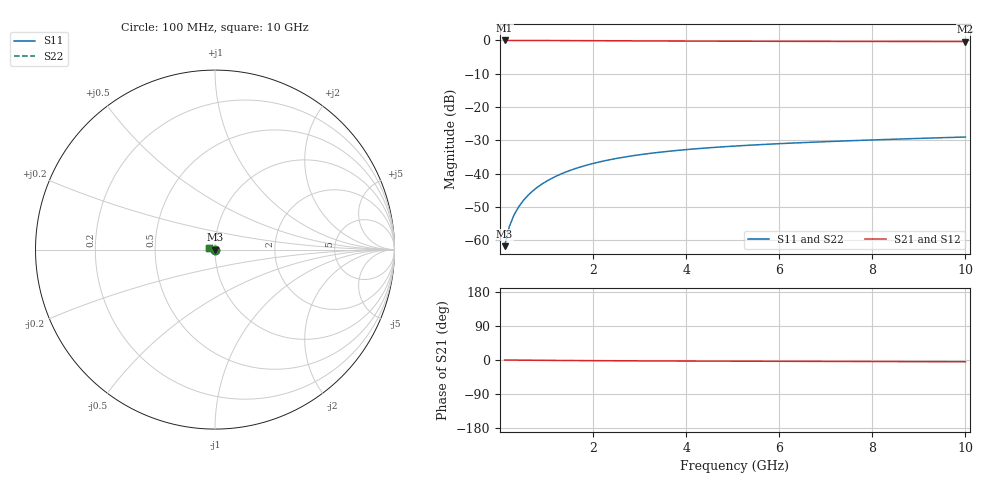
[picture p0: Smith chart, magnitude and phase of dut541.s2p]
! Touchstone file exported from HFSS 2024.1.0
!  File:  C:/UserFiles/LocalFiles/RDL_TSV_Batchsim/temp_TSV1_541_1779705448.aedt
!  Generated:  06:42:56 PM May 25, 2026
!  Design:  TSV1
!  Project:  temp_TSV1_541_1779705448
!  Setup:  Setup1
!  Solution:  Sweep
! Variables:
!  dtsv = 7.47um
!  hbump = 3um
!  htsv = 70.27um
!  lrdl = 252.1521522um
!  p = 40
!  p1 = 46.56um
!  t = 500um
!  trdl = 3um
!  wrdl = 24.89489489um
# GHz S MA R 50.000000
! Terminal data exported
! Port[1] = TSV22_T1
! Port[2] = TSV22_T2
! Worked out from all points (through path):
!   100 points, 100 MHz to 10 GHz, reference 50 ohm
!   highest |S21| = 0.00 dB at 100 MHz (marker M1); lowest = -0.3 dB at 10 GHz (marker M2)
!   lowest |S11| = -61.8 dB at 100 MHz (marker M3), VSWR 1.00, Z = 50 - j0.0789 ohm
!   |S11| at or under -10 dB: start of sweep to end of sweep
!   |S22| runs from -61.8 to -29.0 dB; largest |S21 - S12| = 7.2e-15
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0.1  0.0008174 -74.9  0.9997 -0.1  0.9997 -0.1  0.0008174 -74.9
! Gamma 0 0 0 0
! Port Impedance 50 0 50 0
0.2  0.001598 -85.0  0.9996 -0.2  0.9996 -0.2  0.001598 -85.0
0.3  0.002383 -89.8  0.9995 -0.3  0.9995 -0.3  0.002383 -89.8
0.4  0.003166 -93.1  0.9993 -0.4  0.9993 -0.4  0.003166 -93.1
0.5  0.003944 -95.8  0.9991 -0.5  0.9991 -0.5  0.003944 -95.8
0.6  0.004715 -98.3  0.9988 -0.6  0.9988 -0.6  0.004715 -98.3
0.7  0.005478 -100.5  0.9985 -0.7  0.9985 -0.7  0.005478 -100.5
0.8  0.006231 -102.7  0.9981 -0.8  0.9981 -0.8  0.006231 -102.7
0.9  0.006974 -104.7  0.9977 -0.9  0.9977 -0.9  0.006974 -104.7
1.1  0.008425 -108.6  0.9967 -1.0  0.9967 -1.0  0.008425 -108.6
1.4  0.0105 -114.2  0.9951 -1.3  0.9951 -1.3  0.0105 -114.2
1.6  0.01181 -117.7  0.9939 -1.4  0.9939 -1.4  0.01181 -117.7
1.8  0.01306 -121.1  0.9926 -1.6  0.9926 -1.6  0.01306 -121.1
2.1  0.01481 -125.9  0.9907 -1.8  0.9907 -1.8  0.01481 -125.9
2.5  0.01692 -132.0  0.988 -2.0  0.988 -2.0  0.01692 -132.0
2.9  0.01881 -137.6  0.9854 -2.2  0.9854 -2.2  0.01881 -137.6
3.4  0.02087 -144.0  0.9823 -2.5  0.9823 -2.5  0.02087 -144.0
4.2  0.02362 -153.2  0.978 -2.8  0.978 -2.8  0.02362 -153.2
5.1  0.02613 -162.0  0.974 -3.1  0.974 -3.1  0.02613 -162.0
6.7  0.02967 -175.0  0.9688 -3.6  0.9688 -3.6  0.02967 -175.0
8.4  0.03282 173.9  0.9651 -4.1  0.9651 -4.1  0.03282 173.9
10  0.03555 165.2  0.9627 -4.6  0.9627 -4.6  0.03555 165.2
